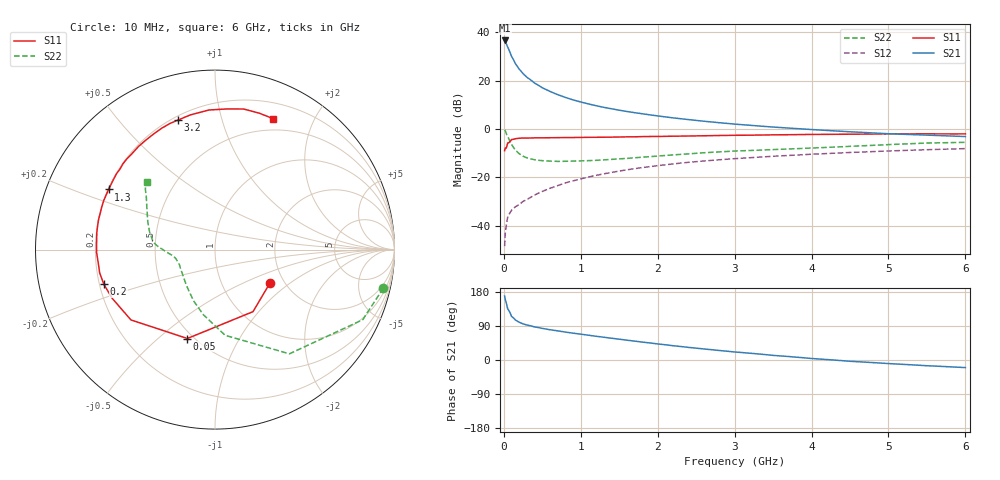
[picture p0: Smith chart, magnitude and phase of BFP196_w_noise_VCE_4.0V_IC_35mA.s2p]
! Infineon Technologies  Discrete & RF Semiconductors
! BFP196
! VCE =  4.0 V,  IC =  35 mA
! Common Emitter S-Parameters:  Jan 2017
# GHz  S  MA  R  50
!  f  S11  S21  S12  S22
! GHz  MAG  ANG  MAG  ANG  MAG  ANG  MAG  ANG
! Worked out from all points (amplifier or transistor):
!   77 points, 10 MHz to 6 GHz, reference 50 ohm
!   highest |S21| = 36.7 dB at 10 MHz (marker M1)
!   |S21| within 3 dB of that: start of sweep to 54.44 MHz
!   unconditionally stable (mu >= 1): 615.8 MHz to 2.445 GHz
!   at 130 MHz: K = 0.53, MSG = 30.5 dB, |S12| = -32.7 dB
!   at 2.2 GHz: K = 1.01, MAG = 8.9 dB, |S12| = -14.4 dB
!   at 6 GHz: K = 0.95, MSG = 2.5 dB, |S12| = -8.0 dB
!   lowest NFmin = 1.28 dB at 450 MHz
!   S11 on the Smith chart (normalised r, x): 10 MHz: 1.68, -0.73; 50 MHz: 0.46, -0.63; 200 MHz: 0.22, -0.15; 1.3 GHz: 0.20, +0.25; 3.2 GHz: 0.22, +0.73; 6 GHz: 0.37, +1.47
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0.01  0.3585 -31.6  68.27 168.7  0.0038 79.0  0.9621 -12.9
0.02  0.4054 -58.5  65.47 158.5  0.0074 80.9  0.911 -25.4
0.05  0.5188 -107.3  50.11 134.8  0.0151 57.8  0.7135 -54.5
0.1  0.6107 -140.1  32.09 115.0  0.021 49.8  0.4812 -83.2
0.15  0.6341 -154.7  22.69 105.5  0.0248 49.9  0.3682 -100.2
0.2  0.6489 -162.7  17.44 99.6  0.0276 51.7  0.3104 -112.4
0.25  0.6555 -168.6  14.1 95.3  0.032 54.8  0.2758 -121.2
0.3  0.6544 -172.6  11.83 92.3  0.035 57.1  0.2546 -128.8
0.4  0.6602 -178.8  8.965 87.3  0.0433 59.9  0.2327 -139.0
0.5  0.6608 176.4  7.19 83.4  0.0515 61.7  0.2229 -146.4
0.6  0.6649 172.2  6.024 79.9  0.0597 62.8  0.2187 -152.0
0.7  0.667 168.9  5.167 76.9  0.068 63.9  0.2154 -156.3
0.9  0.671 162.2  4.026 70.8  0.0852 63.5  0.2185 -162.1
1.1  0.6773 156.3  3.323 65.4  0.1022 62.2  0.2233 -166.5
1.3  0.6808 150.5  2.825 60.1  0.1191 60.3  0.2313 -169.8
1.6  0.6927 142.3  2.319 52.3  0.1442 57.1  0.2479 -173.7
2.1  0.7098 129.1  1.792 40.2  0.1834 50.8  0.2853 -179.3
3.1  0.748 107.8  1.236 19.6  0.2509 37.9  0.357 170.0
3.2  0.7505 105.9  1.202 17.9  0.2567 36.7  0.362 168.6
4.1  0.7791 91.0  0.961 2.6  0.3078 25.9  0.4127 155.5
5.1  0.7985 77.2  0.793 -10.5  0.3579 14.3  0.486 142.1
6  0.7981 66.2  0.703 -20.0  0.3961 4.3  0.5341 134.9
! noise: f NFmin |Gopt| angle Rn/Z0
0.45  1.28  0.35  173  0.05
0.9  1.44  0.45  -169  0.07
1.9  2.27  0.68  -134  0.27
2.4  2.68  0.71  -121  0.61
